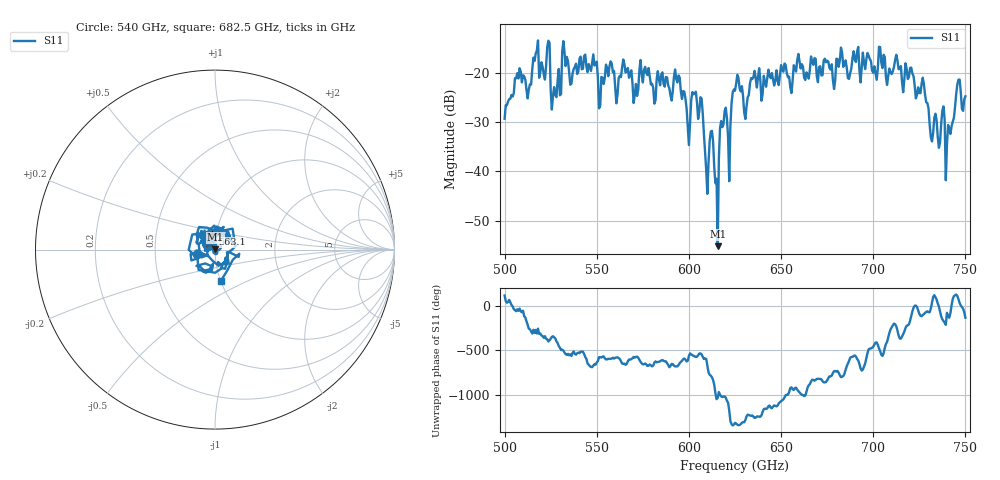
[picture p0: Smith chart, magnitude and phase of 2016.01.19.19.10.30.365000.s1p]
!Created with skrf (http://scikit-rf.org).
# GHz S RI R 50.0
!freq ReS11 ImS11
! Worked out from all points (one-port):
!   401 points, 500 GHz to 750 GHz, reference 50 ohm
!   lowest |S11| = -55.1 dB at 615.6 GHz (marker M1), VSWR 1.00, Z = 50.1 + j0.13 ohm
!   |S11| at or under -10 dB: start of sweep to end of sweep
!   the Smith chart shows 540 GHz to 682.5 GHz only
!   S11 on the Smith chart (normalised r, x): 540 GHz: 0.82, -0.04; 563.1 GHz: 0.95, +0.17; 682.5 GHz: 1.00, -0.36
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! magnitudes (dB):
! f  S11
! 500 GHz  -29.3
! 507.5 GHz  -21.2
! 513.1 GHz  -23.4
! 516.9 GHz  -16.2
! 523.8 GHz  -13.6
! 526.9 GHz  -23.0
! 531.2 GHz  -15.8
! 540 GHz  -19.8
! 562.5 GHz  -20.7
! 563.1 GHz  -20.9
! 593.8 GHz  -22.0
! 599.4 GHz  -30.8
! 606.2 GHz  -25.0
! 609.4 GHz  -39.7
! 612.5 GHz  -31.8
! 615.6 GHz  -55.1
! 618.1 GHz  -31.0
! 621.9 GHz  -42.0
! 625 GHz  -23.7
! 630.6 GHz  -29.4
! 635 GHz  -20.9
! 656.2 GHz  -21.7
! 682.5 GHz  -15.0
! 687.5 GHz  -20.1
! 718.8 GHz  -21.3
! 740.6 GHz  -30.6
! 746.2 GHz  -21.4
! 750 GHz  -24.8
